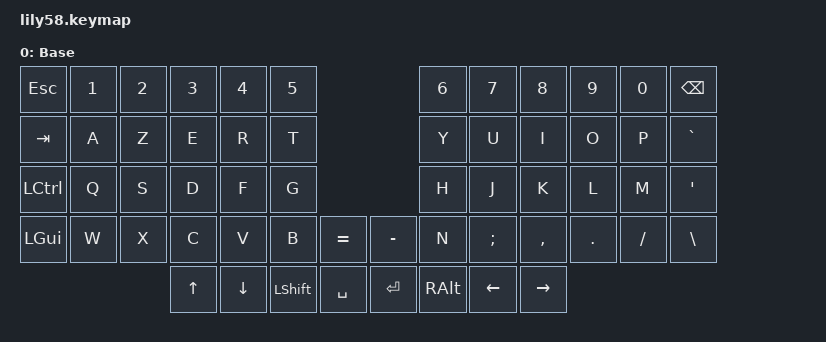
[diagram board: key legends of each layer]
#include <behaviors.dtsi>
#include <dt-bindings/zmk/keys.h>

/ {
    keymap {
        compatible = "zmk,keymap";

        Base {
            bindings = <
&kp ESC    &kp NUMBER_1  &kp NUMBER_2  &kp NUMBER_3  &kp NUMBER_4  &kp NUMBER_5                          &kp N6    &kp N7    &kp N8     &kp N9   &kp N0    &kp BSPC
&kp TAB    &kp A         &kp Z         &kp E         &kp R         &kp T                                 &kp Y     &kp U     &kp I      &kp O    &kp P     &kp GRAVE
&kp LCTRL  &kp Q         &kp S         &kp D         &kp F         &kp G                                 &kp H     &kp J     &kp K      &kp L    &kp M     &kp APOS
&kp LGUI   &kp W         &kp X         &kp C         &kp V         &kp B         &kp EQUAL    &kp MINUS  &kp N     &kp SEMI  &kp COMMA  &kp DOT  &kp FSLH  &kp BSLH
                                       &kp UP_ARROW  &kp DOWN      &kp LSHFT     &kp SPACE    &kp ENTER  &kp RALT  &kp LEFT  &kp RIGHT
            >;
        };
    };
};
